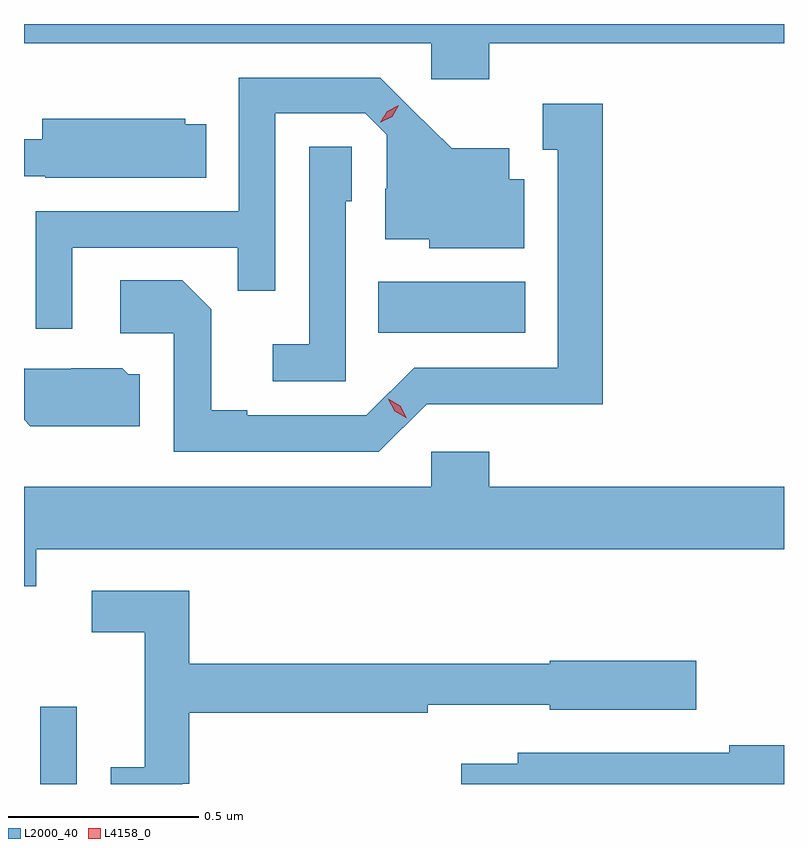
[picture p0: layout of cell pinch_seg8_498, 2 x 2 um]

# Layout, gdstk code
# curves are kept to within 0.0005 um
import gdstk
lib = gdstk.Library(unit=1e-6, precision=1e-09)
def R(c, l, rs):  # rectangles x0, y0, x1, y1
    for r in rs: c.add(gdstk.rectangle(r[:2], r[2:], *l))
def P(c, l, *ps):  # polygons
    for p in ps: c.add(gdstk.Polygon(p, *l))
L2000_40 = (2000, 40)
L4158_0 = (4158, 0)

pinch_seg8_498 = lib.new_cell('pinch_seg8_498')
R(pinch_seg8_498, L2000_40, [(226.389,1138.526,226.485,1138.729), (227.278,1139.714,227.665,1139.848)])
P(pinch_seg8_498, L2000_40, [(227.57,1140.476),(228.346,1140.476),(228.346,1140.526),(226.346,1140.526),(226.346,1140.476),(227.418,1140.476),(227.418,1140.381),(227.57,1140.381)],
  [(226.473,1139.937),(226.909,1139.937),(226.909,1139.824),(227.007,1139.824),(227.007,1140.291),(227.244,1140.291),(227.301,1140.234),(227.301,1140.092),(227.297,1140.092),(227.297,1139.96),(227.412,1139.96),(227.412,1139.936),(227.662,1139.936),(227.662,1140.118),(227.623,1140.118),(227.623,1140.199),(227.471,1140.199),(227.284,1140.384),(226.911,1140.384),(226.911,1140.033),(226.377,1140.033),(226.377,1139.724),(226.473,1139.724)],
  [(227.406,1139.526),(227.628,1139.526),(227.628,1139.525),(227.869,1139.525),(227.869,1140.316),(227.711,1140.316),(227.711,1140.195),(227.75,1140.195),(227.75,1139.622),(227.373,1139.622),(227.247,1139.496),(226.933,1139.496),(226.933,1139.509),(226.839,1139.509),(226.839,1139.776),(226.763,1139.852),(226.599,1139.852),(226.599,1139.712),(226.74,1139.712),(226.74,1139.4),(227.28,1139.4)],
  [(226.826,1140.262),(226.77,1140.262),(226.77,1140.277),(226.394,1140.277),(226.394,1140.223),(226.346,1140.223),(226.346,1140.126),(226.402,1140.126),(226.402,1140.122),(226.826,1140.122)],
  [(227.193,1140.06),(227.208,1140.06),(227.208,1140.203),(227.097,1140.203),(227.097,1139.683),(227.001,1139.683),(227.001,1139.586),(227.193,1139.586)],
  [(226.651,1139.604),(226.62,1139.604),(226.604,1139.62),(226.47,1139.62),(226.47,1139.619),(226.347,1139.619),(226.346,1139.62),(226.346,1139.485),(226.363,1139.468),(226.651,1139.468)],
  [(226.378,1139.144),(228.346,1139.144),(228.346,1139.308),(227.57,1139.308),(227.57,1139.401),(227.418,1139.401),(227.418,1139.308),(226.346,1139.308),(226.346,1139.046),(226.378,1139.046)],
  [(226.762,1138.527),(226.781,1138.527),(226.781,1138.714),(227.408,1138.714),(227.408,1138.734),(227.73,1138.734),(227.73,1138.721),(228.115,1138.721),(228.115,1138.851),(227.73,1138.851),(227.73,1138.843),(226.781,1138.843),(226.781,1139.034),(226.524,1139.034),(226.524,1138.926),(226.664,1138.926),(226.664,1138.57),(226.574,1138.57),(226.574,1138.526),(226.762,1138.526)],
  [(228.346,1138.628),(228.202,1138.628),(228.202,1138.608),(227.645,1138.608),(227.645,1138.579),(227.496,1138.579),(227.496,1138.526),(228.346,1138.526)])
P(pinch_seg8_498, L4158_0, [(227.284,1140.267),(227.284,1140.267),(227.302,1140.297),(227.332,1140.312),(227.332,1140.312),(227.332,1140.312),(227.315,1140.282),(227.285,1140.267)],
  [(227.353,1139.488),(227.322,1139.507),(227.304,1139.539),(227.304,1139.54),(227.304,1139.54),(227.336,1139.521),(227.353,1139.488),(227.353,1139.488)])

lib.write_gds('pinch_seg8_498.gds')
